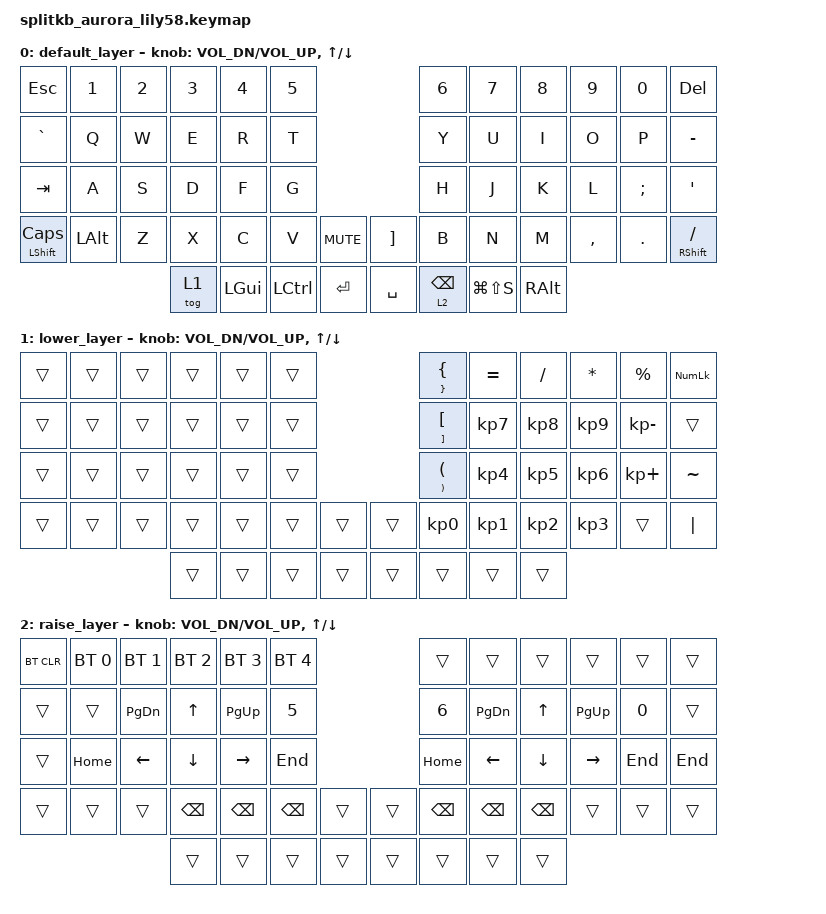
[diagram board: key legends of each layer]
/*
 * Copyright (c) 2022 The ZMK Contributors
 *
 * SPDX-License-Identifier: MIT
 */

#include <behaviors.dtsi>
#include <dt-bindings/zmk/keys.h>
#include <dt-bindings/zmk/bt.h>
#include <dt-bindings/zmk/ext_power.h>

/ {
    keymap {
        compatible = "zmk,keymap";

        default_layer {
            bindings = <
&kp ESC        &kp N1   &kp N2 &kp N3   &kp N4   &kp N5                        &kp N6  &kp N7        &kp N8    &kp N9    &kp N0   &kp DEL
&kp GRAVE      &kp Q    &kp W  &kp E    &kp R    &kp T                         &kp Y   &kp U         &kp I     &kp O     &kp P    &kp MINUS
&kp TAB        &kp A    &kp S  &kp D    &kp F    &kp G                         &kp H   &kp J         &kp K     &kp L     &kp SEMI &kp SQT
&mt LSHFT CAPS &kp LALT &kp Z  &kp X    &kp C    &kp V    &kp K_MUTE &kp RBKT  &kp B   &kp N         &kp M     &kp COMMA &kp DOT  &mt RSHFT FSLH
                               &tog 1   &kp LGUI &kp LCTL &kp RET &kp SPACE &lt 2 BSPC &kp LG(LS(S)) &kp RALT >;

            sensor-bindings = <&inc_dec_kp C_VOL_DN C_VOL_UP &inc_dec_kp UP DOWN>;
        };

        lower_layer {
            bindings = <
&trans     &trans       &trans       &trans       &trans       &trans                       &mt RBRC LBRC  &kp EQUAL    &kp FSLH        &kp STAR    &kp PRCNT     &kp KP_NUM
&trans     &trans       &trans       &trans       &trans       &trans                       &mt RBKT LBKT  &kp KP_N7    &kp KP_N8       &kp KP_N9   &kp KP_MINUS  &trans
&trans     &trans       &trans       &trans       &trans       &trans                       &mt RPAR LPAR  &kp KP_N4    &kp KP_N5       &kp KP_N6   &kp KP_PLUS   &kp TILDE
&trans     &trans       &trans       &trans       &trans       &trans    &trans   &trans    &kp KP_N0      &kp KP_N1    &kp KP_N2       &kp KP_N3   &trans        &kp PIPE
                                              &trans            &trans       &trans    &trans   &trans    &trans    &trans    &trans
            >;

            sensor-bindings = <&inc_dec_kp C_VOL_DN C_VOL_UP &inc_dec_kp UP DOWN>;
        };

        raise_layer {
            bindings = <
&bt BT_CLR &bt BT_SEL 0 &bt BT_SEL 1 &bt BT_SEL 2 &bt BT_SEL 3 &bt BT_SEL 4  &trans      &trans    &trans    &trans     &trans    &trans
&trans    &trans   &kp PG_DN &kp UP   &kp PG_UP &kp N5                       &kp N6      &kp PG_DN &kp UP    &kp PG_UP  &kp N0    &trans
&trans    &kp HOME &kp LEFT  &kp DOWN &kp RIGHT &kp END                      &kp HOME    &kp LEFT  &kp DOWN  &kp RIGHT  &kp END   &kp END
&trans    &trans   &trans    &kp BSPC &kp BSPC  &kp BSPC  &trans   &trans    &kp BSPC    &kp BSPC  &kp BSPC  &trans     &trans    &trans
                             &trans   &trans    &trans    &trans   &trans    &trans      &trans    &trans
            >;

            sensor-bindings = <&inc_dec_kp C_VOL_DN C_VOL_UP &inc_dec_kp UP DOWN>;
        };
    };
};
